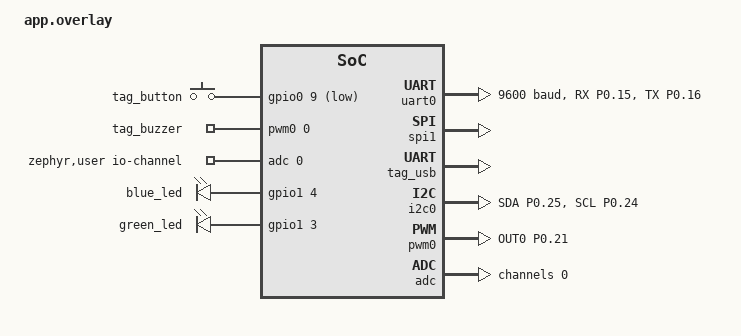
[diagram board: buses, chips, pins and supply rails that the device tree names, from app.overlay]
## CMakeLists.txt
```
cmake_minimum_required(VERSION 3.20)
set(PM_STATIC_YML_FILE ${CMAKE_CURRENT_SOURCE_DIR}/pm_static.yml)
find_package(Zephyr REQUIRED HINTS $ENV{ZEPHYR_BASE})
project(rak_findmy)
if(NOT BOARD STREQUAL "rak4631_nrf52840")
  message(FATAL_ERROR "This application is for the RAK WisMesh Tag with S140 6.1.1.")
endif()
target_sources(app PRIVATE src/main.c src/motion.cpp src/plan.c)
if(RAK_FINDMY_PRODUCT_PLAN)
  if(NOT IS_ABSOLUTE "${RAK_FINDMY_PRODUCT_PLAN}" OR NOT EXISTS "${RAK_FINDMY_PRODUCT_PLAN}")
    message(FATAL_ERROR "Supply an absolute path to the product plan C source.")
  endif()
  target_sources(app PRIVATE "${RAK_FINDMY_PRODUCT_PLAN}")
  target_compile_definitions(app PRIVATE RAK_FINDMY_HAS_PLAN=1)
else()
  # Development image. The accessory stack stays disabled until a product plan
  # is linked. The SDK references all three arrays even in this configuration.
  target_sources(app PRIVATE src/unprovisioned.c)
endif()

include(mesh.cmake)
include(nordic_sdk.cmake)
include(../rak_location/ping_monitor.cmake)
```

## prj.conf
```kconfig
CONFIG_FMNA=y
CONFIG_FMNA_NORDIC_PRODUCT_PLAN=n
CONFIG_FMNA_MANUFACTURER_NAME="MeshCore"
CONFIG_FMNA_MODEL_NAME="RAK WisMesh Tag"
CONFIG_FMNA_CAPABILITY_PLAY_SOUND_ENABLED=y
CONFIG_FMNA_CAPABILITY_DETECT_MOTION_ENABLED=y
CONFIG_FMNA_CAPABILITY_BLE_SN_LOOKUP_ENABLED=y
CONFIG_FMNA_BATTERY_TYPE_RECHARGEABLE=y
CONFIG_FMNA_PAIRING_MODE_AUTOSTART=n
CONFIG_FMNA_SERVICE_HIDDEN_MODE=y
CONFIG_BT_MAX_CONN=2
CONFIG_BT_ID_MAX=2
CONFIG_BT_MAX_PAIRED=2
CONFIG_BT_RX_STACK_SIZE=3072
CONFIG_LINKER_ORPHAN_SECTION_PLACE=y
CONFIG_SYSTEM_WORKQUEUE_STACK_SIZE=4096
CONFIG_MAIN_STACK_SIZE=4096
CONFIG_HEAP_MEM_POOL_SIZE=8192
CONFIG_GPIO=y
CONFIG_PWM=y
CONFIG_I2C=y
CONFIG_ADC=y
CONFIG_CPP=y
CONFIG_USB_DEVICE_STACK=y
CONFIG_USB_DEVICE_PRODUCT="RAK Find My bench"
CONFIG_SHELL=y
CONFIG_SHELL_BACKEND_SERIAL=y
CONFIG_SHELL_HISTORY=n
CONFIG_SHELL_CMDS=n
CONFIG_SHELL_CMDS_RESIZE=n
CONFIG_SHELL_TAB=n
CONFIG_SHELL_LOG_BACKEND=n
CONFIG_BT_SHELL=n
CONFIG_FLASH_SHELL=n
CONFIG_LOG=n
CONFIG_USE_SEGGER_RTT=n
CONFIG_BOOT_BANNER=n
CONFIG_NFCT_PINS_AS_GPIOS=y
CONFIG_GPIO_AS_PINRESET=n
CONFIG_BUILD_OUTPUT_HEX=y
CONFIG_UART_INTERRUPT_DRIVEN=y
CONFIG_RING_BUFFER=y
CONFIG_REBOOT=y
CONFIG_NEWLIB_LIBC=y
CONFIG_GLIBCXX_LIBCPP=y
CONFIG_SPI=y
CONFIG_STD_CPP17=y
```

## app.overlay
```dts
#include <zephyr/dt-bindings/adc/nrf-adc.h>
#include <zephyr/dt-bindings/adc/adc.h>
#include <zephyr/dt-bindings/pwm/pwm.h>

/ {
  chosen {
    zephyr,console = &tag_usb;
    zephyr,shell-uart = &tag_usb;
    zephyr,code-partition = &tag_app;
  };
  buttons {
    compatible = "gpio-keys";
    tag_button: button { gpios = <&gpio0 9 (GPIO_PULL_UP | GPIO_ACTIVE_LOW)>; };
  };
  buzzer {
    compatible = "pwm-leds";
    tag_buzzer: buzzer { pwms = <&pwm0 0 PWM_USEC(500) PWM_POLARITY_NORMAL>; };
  };
};

&flash0 {
  /delete-node/ partitions;
  partitions {
    compatible = "fixed-partitions";
    #address-cells = <1>;
    #size-cells = <1>;
    tag_app: partition@26000 { label = "image-0"; reg = <0x26000 0x9d000>; };
    storage_partition: partition@d2000 { label = "storage"; reg = <0xd2000 0x2000>; };
  };
};
&blue_led { gpios = <&gpio1 4 GPIO_ACTIVE_HIGH>; };
&green_led { gpios = <&gpio1 3 GPIO_ACTIVE_HIGH>; };
&uart0 { status = "disabled"; };
&uart1 { status = "disabled"; };
&spi1 { status = "disabled"; };
&qspi { status = "disabled"; };
&i2c1 { status = "disabled"; };

&zephyr_udc0 { tag_usb: cdc_acm_uart0 { compatible = "zephyr,cdc-acm-uart"; }; };

&pinctrl {
  tag_i2c: tag_i2c { group1 { psels = <NRF_PSEL(TWIM_SDA, 0, 25)>, <NRF_PSEL(TWIM_SCL, 0, 24)>; }; };
  tag_i2c_sleep: tag_i2c_sleep { group1 { psels = <NRF_PSEL(TWIM_SDA, 0, 25)>, <NRF_PSEL(TWIM_SCL, 0, 24)>; low-power-enable; }; };
  tag_pwm: tag_pwm { group1 { psels = <NRF_PSEL(PWM_OUT0, 0, 21)>; }; };
  tag_pwm_sleep: tag_pwm_sleep { group1 { psels = <NRF_PSEL(PWM_OUT0, 0, 21)>; low-power-enable; }; };
};
&i2c0 {
  status = "okay";
  pinctrl-0 = <&tag_i2c>;
  pinctrl-1 = <&tag_i2c_sleep>;
};
&pwm0 {
  status = "okay";
  pinctrl-0 = <&tag_pwm>;
  pinctrl-1 = <&tag_pwm_sleep>;
  pinctrl-names = "default", "sleep";
};

&adc {
  #address-cells = <1>;
  #size-cells = <0>;
  channel@0 {
    reg = <0>;
    zephyr,gain = "ADC_GAIN_1_6";
    zephyr,reference = "ADC_REF_INTERNAL";
    zephyr,acquisition-time = <ADC_ACQ_TIME_DEFAULT>;
    zephyr,input-positive = <NRF_SAADC_AIN3>;
    zephyr,resolution = <12>;
  };
};
/ { zephyr,user { io-channels = <&adc 0>; }; };

#include <zephyr/dt-bindings/lora/sx126x.h>
&spi1 { status = "okay"; };
&lora {
  /delete-property/ tx-enable-gpios;
  /delete-property/ rx-enable-gpios;
  dio3-tcxo-voltage = <SX126X_DIO3_TCXO_1V8>;
};
&pinctrl {
  tag_gps: tag_gps { group1 { psels = <NRF_PSEL(UART_RX, 0, 15)>, <NRF_PSEL(UART_TX, 0, 16)>; }; };
  tag_gps_sleep: tag_gps_sleep { group1 { psels = <NRF_PSEL(UART_RX, 0, 15)>, <NRF_PSEL(UART_TX, 0, 16)>; low-power-enable; }; };
};
&uart0 {
  status = "okay";
  current-speed = <9600>;
  pinctrl-0 = <&tag_gps>;
  pinctrl-1 = <&tag_gps_sleep>;
};
```

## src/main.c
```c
#include <errno.h>
#include <string.h>
#include <fmna.h>
#ifdef RAK_NATIVE_PINGS
#include "native_pings.h"
#define APPLE_BT_ID RAK_APPLE_ID
#else
#define APPLE_BT_ID 1
#endif
#include <zephyr/bluetooth/bluetooth.h>
#include <zephyr/drivers/adc.h>
#include <zephyr/drivers/gpio.h>
#include <zephyr/drivers/pwm.h>
#include <zephyr/kernel.h>
#include <zephyr/settings/settings.h>
#include <zephyr/shell/shell.h>
#ifdef CONFIG_USB_DEVICE_STACK
#include <zephyr/usb/usb_device.h>
#endif

extern bool tag_has_product_plan(void);
extern void tag_mesh_start(void);
extern bool tag_motion_present(void);
#ifdef RAK_NATIVE_PINGS
#define tag_motion_start rak_apple_motion_start
#define tag_motion_detected rak_apple_motion_detected
#define tag_motion_stop rak_apple_motion_stop
#define set_buzzer rak_apple_buzzer
#else
extern void tag_motion_start(void);
extern bool tag_motion_detected(void);
extern void tag_motion_stop(void);
#endif

static const struct gpio_dt_spec button = GPIO_DT_SPEC_GET(DT_NODELABEL(tag_button), gpios);
static const struct gpio_dt_spec green = GPIO_DT_SPEC_GET(DT_NODELABEL(green_led), gpios);
static const struct pwm_dt_spec buzzer = PWM_DT_SPEC_GET(DT_NODELABEL(tag_buzzer));
#ifndef RAK_NATIVE_PINGS
static int set_buzzer(bool active)
{
    return pwm_set_pulse_dt(&buzzer, active ? buzzer.period / 2 : 0);
}
#endif

static const struct adc_dt_spec battery = ADC_DT_SPEC_GET(DT_PATH(zephyr_user));

static atomic_t hardware_ready, paired, pairing, uuid_present, token_present;
static atomic_t last_error;
static K_MUTEX_DEFINE(buzzer_lock);
static bool notify_sound_end;
static int64_t sound_deadline;
static void finish_sound(struct k_work *work);
static K_WORK_DELAYABLE_DEFINE(sound_timer, finish_sound);

extern int tag_battery_mv(void);

static uint8_t battery_percent(int mv)
{
    return CLAMP((mv - 3200) / 10, 0, 100);
}

static void update_battery(void)
{
    int mv = tag_battery_mv();
    if (mv >= 0) fmna_battery_level_set(battery_percent(mv));
}

static void finish_sound(struct k_work *work)
{
    ARG_UNUSED(work);
    k_mutex_lock(&buzzer_lock, K_FOREVER);
    if (sound_deadline) {
        int64_t left = sound_deadline - k_uptime_get();
        if (left > 0) {
            k_work_reschedule(&sound_timer, K_MSEC(left));
        } else {
            set_buzzer(false);
            sound_deadline = 0;
            bool report = notify_sound_end;
            notify_sound_end = false;
            k_mutex_unlock(&buzzer_lock);
            if (report) fmna_sound_completed_indicate();
            return;
        }
    }
    k_mutex_unlock(&buzzer_lock);
}

static int play_sound(bool network)
{
    k_mutex_lock(&buzzer_lock, K_FOREVER);
    int err = 0;
    if (!network && notify_sound_end) err = -EBUSY;
    else if ((err = set_buzzer(true)) == 0) {
        notify_sound_end = network;
        int duration_ms = network ? 5000 : 500;
        sound_deadline = k_uptime_get() + duration_ms;
        k_work_reschedule(&sound_timer, K_MSEC(duration_ms));
    }
    k_mutex_unlock(&buzzer_lock);
    return err;
}

static void sound_start(enum fmna_sound_trigger trigger)
{
    ARG_UNUSED(trigger);
    int err = play_sound(true);
    if (err) {
        atomic_set(&last_error, err);
        fmna_sound_completed_indicate();
    }
}

static void sound_stop(void)
{
    k_mutex_lock(&buzzer_lock, K_FOREVER);
    sound_deadline = 0;
    notify_sound_end = false;
    k_work_cancel_delayable(&sound_timer);
    set_buzzer(false);
    k_mutex_unlock(&buzzer_lock);
}

static void state_changed(bool is_paired)
{
    atomic_set(&paired, is_paired);
    if (is_paired) atomic_clear(&pairing);
#ifdef RAK_NATIVE_PINGS
    rak_apple_indicator(is_paired);
#else
    gpio_pin_set_dt(&green, is_paired);
#endif
}

static void pairing_exited(void) { atomic_clear(&pairing); }
static void pairing_failed(void) { atomic_set(&last_error, -EACCES); }

static const struct fmna_enable_cb events = {
    .paired_state_changed = state_changed, .battery_level_request = update_battery,
    .pairing_failed = pairing_failed, .pairing_mode_exited = pairing_exited,
};
static const struct fmna_sound_cb sounds = { .sound_start = sound_start, .sound_stop = sound_stop };
static const struct fmna_motion_detection_cb motion = {
    .motion_detection_start = tag_motion_start,
    .motion_detection_period_expired = tag_motion_detected,
    .motion_detection_stop = tag_motion_stop,
};

// Inspect only the presence and expected size of the SDK's provisioning
// records. The SDK alone reads and authenticates their contents.
static int provisioned(const char *key, size_t len, settings_read_cb read,
                       void *arg, void *unused)
{
    ARG_UNUSED(read); ARG_UNUSED(arg); ARG_UNUSED(unused);
    if (key && strcmp(key, "998") == 0 && len == 16) atomic_set(&uuid_present, 1);
    if (key && strcmp(key, "999") == 0 && len == 1024) atomic_set(&token_present, 1);
    return 0;
}

static int start_accessory(int mv)
{
#ifdef RAK_NATIVE_PINGS
    int err = rak_host_ready();
#else
    int err = bt_enable(NULL);
    if (!err) err = settings_load();
#endif
    if (!err) err = settings_load_subtree_direct("fmna/provisioning", provisioned, NULL);
    if (err) return err;
    if (!tag_has_product_plan() || !atomic_get(&uuid_present)
        || !atomic_get(&token_present)) return -ENODATA;
    size_t count = 0;
    bt_id_get(NULL, &count);
    if (count <= APPLE_BT_ID) {
        int id = bt_id_create(NULL, NULL);
        if (id != APPLE_BT_ID) return id < 0 ? id : -EINVAL;
    }
    err = fmna_sound_cb_register(&sounds);
    if (!err) err = fmna_motion_detection_cb_register(&motion);
    const struct fmna_enable_param params = {
        .bt_id = APPLE_BT_ID, .init_battery_level = battery_percent(mv),
        .use_default_factory_settings = false
    };
    return err ? err : fmna_enable(&params, &events);
}

static int enter_pairing(void)
{
    if (!fmna_is_ready()) return atomic_get(&last_error) ?: -EAGAIN;
    if (atomic_get(&paired)) return -EALREADY;
    int err = fmna_resume();
    if (!err) atomic_set(&pairing, 1);
    return err;
}

static int cmd_status(const struct shell *sh, size_t argc, char **argv)
{
    ARG_UNUSED(argc); ARG_UNUSED(argv);
    shell_print(sh, "plan=%s uuid=%s token=%s ready=%d paired=%ld pairing=%ld error=%ld",
                tag_has_product_plan() ? "configured" : "absent",
                atomic_get(&uuid_present) ? "present" : "absent",
                atomic_get(&token_present) ? "present" : "absent", fmna_is_ready(),
                (long)atomic_get(&paired), (long)atomic_get(&pairing), (long)atomic_get(&last_error));
    if (atomic_get(&hardware_ready))
        shell_print(sh, "battery_mV=%d accelerometer=%s", tag_battery_mv(),
                    tag_motion_present() ? "present" : "unavailable");
    return 0;
}

static int cmd_sound(const struct shell *sh, size_t argc, char **argv)
{
    ARG_UNUSED(argc); ARG_UNUSED(argv);
    int err = atomic_get(&hardware_ready) ? play_sound(false) : -EAGAIN;
    if (err) shell_error(sh, "Buzzer unavailable (%d)", err);
    return err;
}

static int cmd_pair(const struct shell *sh, size_t argc, char **argv)
{
    ARG_UNUSED(argc); ARG_UNUSED(argv);
    int err = enter_pairing();
    if (err == -ENODATA) shell_error(sh, "Find My requires a product plan and device provisioning");
    else if (err) shell_error(sh, "Pairing unavailable (%d)", err);
    else shell_print(sh, "Open Find My > Items > Add Other Item");
    return err;
}

SHELL_STATIC_SUBCMD_SET_CREATE(tag_commands,
    SHELL_CMD(status, NULL, "Board and Find My state", cmd_status),
    SHELL_CMD(sound, NULL, "Test the local buzzer", cmd_sound),
    SHELL_CMD(pair, NULL, "Open the Find My pairing window", cmd_pair),
    SHELL_SUBCMD_SET_END);
SHELL_CMD_REGISTER(tag, &tag_commands, "RAK WisMesh Tag", NULL);

int main(void)
{
    // The tracker also boots on battery with no USB host.
#ifdef CONFIG_USB_DEVICE_STACK
    (void)usb_enable(NULL);
#endif
    int err = 0;
    if (!gpio_is_ready_dt(&green) || !gpio_is_ready_dt(&button)
        || !device_is_ready(buzzer.dev) || !device_is_ready(battery.dev)) err = -ENODEV;
#ifdef RAK_NATIVE_PINGS
    if (!err) err = rak_board_prepare();
#else
    if (!err) err = gpio_pin_configure_dt(&green, GPIO_OUTPUT_INACTIVE);
    if (!err) err = gpio_pin_configure_dt(&button, GPIO_INPUT);
#endif
    if (!err) err = adc_channel_setup_dt(&battery);
    int mv = err ? err : tag_battery_mv();
    if (mv < 0) { atomic_set(&last_error, mv); return mv; }
    atomic_set(&hardware_ready, 1);
    if (!tag_motion_present()) err = -ENODEV;
    if (!err) err = start_accessory(mv);
    atomic_set(&last_error, err);
#ifndef RAK_NATIVE_PINGS
    tag_mesh_start();
#else
    if (err) return err;
#endif
    // Only a deliberate press after boot opens the pairing window.
    bool released = false;
    unsigned down_ticks = 0;
    while (true) {
        k_sleep(K_MSEC(25));
        int down = gpio_pin_get_dt(&button);
        if (down == 0) { down_ticks = 0; released = true; }
        else if (down > 0 && released && ++down_ticks == 3) {
            released = false;
            if (fmna_is_ready()) {
                if (atomic_get(&paired)) fmna_serial_number_lookup_enable();
                else enter_pairing();
            } else play_sound(false);
        }
    }
}
```

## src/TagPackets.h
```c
#pragma once

#include <Packet.h>
#include <Utils.h>
#include <helpers/TrackerProtocol.h>

namespace tag_packets {

// The first bytes route the packet. Integrity is checked against the shared
// secret for the full locally configured peer before interpreting its payload.
inline int open(const uint8_t* bytes, uint8_t size, uint8_t type,
                const uint8_t* local, const uint8_t* peer, const uint8_t* secret,
                uint8_t (&clear)[MAX_PACKET_PAYLOAD]) {
  mesh::Packet packet;
  if (!packet.readFrom(bytes, size) || packet.getRouteType() != ROUTE_TYPE_DIRECT
      || packet.path_len || packet.getPayloadVer() != PAYLOAD_VER_1
      || packet.getPayloadType() != type || packet.payload_len < 4
      || packet.payload[0] != local[0] || packet.payload[1] != peer[0]) return 0;
  return mesh::Utils::MACThenDecrypt(secret, clear, packet.payload + 2, packet.payload_len - 2);
}

inline void seal(mesh::Packet& packet, uint8_t type, const uint8_t* local,
                 const uint8_t* peer, const uint8_t* secret, const uint8_t* clear, size_t length) {
  packet.header = ROUTE_TYPE_DIRECT | (type << PH_TYPE_SHIFT);
  packet.path_len = 0;
  packet.payload[0] = peer[0];
  packet.payload[1] = local[0];
  packet.payload_len = 2 + mesh::Utils::encryptThenMAC(secret, packet.payload + 2, clear, length);
}

inline bool unpackReply(const uint8_t* bytes, uint8_t size, const uint8_t* local,
                        const uint8_t* peer, const uint8_t* secret, uint32_t pending, uint8_t& status) {
  uint8_t clear[MAX_PACKET_PAYLOAD];
  int len = open(bytes, size, PAYLOAD_TYPE_RESPONSE, local, peer, secret, clear);
  uint16_t lease;
  return pending && len > 0 && mesh::tracker::parseStatusResponse(clear, len, pending, status, lease);
}

inline bool unpackCheck(const uint8_t* bytes, uint8_t size, const uint8_t* local,
                        const uint8_t* peer, const uint8_t* secret, uint32_t latest, uint32_t utc,
                        uint32_t& tag, mesh::tracker::StatusRequest& fix) {
  using namespace mesh::tracker;
  uint8_t clear[MAX_PACKET_PAYLOAD];
  int len = open(bytes, size, PAYLOAD_TYPE_REQ, local, peer, secret, clear);
  if (len <= int(TagLength) || !parseStatusRequest(clear + TagLength, len - TagLength, fix)) return false;
  tag = get32(clear);
  return utc && tag > latest && uint64_t(tag) <= uint64_t(utc) + 300 && uint64_t(tag) + 300 >= utc;
}
} // namespace tag_packets
```

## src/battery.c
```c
#include <zephyr/drivers/adc.h>

static const struct adc_dt_spec battery = ADC_DT_SPEC_GET(DT_PATH(zephyr_user));

int tag_battery_mv(void)
{
    int16_t raw;
    struct adc_sequence seq = { .buffer = &raw, .buffer_size = sizeof(raw) };
    int err = adc_sequence_init_dt(&battery, &seq);
    if (!err) err = adc_read(battery.dev, &seq);
    if (err) return err;
    int32_t mv = raw;
    err = adc_raw_to_millivolts_dt(&battery, &mv);
    // Same resistor-divider calibration as RAKWismeshTagBoard.
    return err ? err : (mv * 2054 + 500) / 1000;
}
```

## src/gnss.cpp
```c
#include "gnss.h"
#include <zephyr/drivers/gpio.h>
#include <zephyr/drivers/uart.h>
#include <zephyr/sys/ring_buffer.h>
#include <zephyr/sys/timeutil.h>
#include <MicroNMEA.h>

namespace {
const device* const gps = DEVICE_DT_GET(DT_NODELABEL(uart0));
const device* const power = DEVICE_DT_GET(DT_NODELABEL(gpio1));
RING_BUF_DECLARE(bytes, 1024);
char line[100];
MicroNMEA nmea(line, sizeof(line));
TagFix latest{};
bool running;

void receive(const device* dev, void*) {
  uint8_t chunk[32];
  if (!uart_irq_update(dev) || !uart_irq_rx_ready(dev)) return;
  int size;
  while ((size = uart_fifo_read(dev, chunk, sizeof(chunk))) > 0)
    ring_buf_put(&bytes, chunk, size);
}
}

bool tag_gps_available() {
  return device_is_ready(gps) && device_is_ready(power);
}

bool tag_gps_begin() {
  if (running) return true;
  latest = {};
  nmea.clear();
  ring_buf_reset(&bytes);
  if (!tag_gps_available()
      || gpio_pin_configure(power, 2, GPIO_OUTPUT_ACTIVE)
      || uart_irq_callback_user_data_set(gps, receive, nullptr)) return false;
  uart_irq_rx_enable(gps);
  running = true;
  return true;
}

void tag_gps_end() {
  if (!running) return;
  uart_irq_rx_disable(gps);
  gpio_pin_set(power, 2, 0);
  running = false;
  latest = {};
}

void tag_gps_process() {
  if (!running) return;
  uint8_t chunk[96];
  unsigned count;
  while ((count = ring_buf_get(&bytes, chunk, sizeof(chunk))) > 0) {
    for (unsigned i = 0; i < count; ++i) {
      if (!nmea.process(chunk[i]) || !MicroNMEA::testChecksum(nmea.getSentence())
          || strcmp(nmea.getMessageID(), "RMC")
          || !nmea.isValid()) continue;
      const long latitude = nmea.getLatitude(), longitude = nmea.getLongitude();
      if (latitude < -90000000 || latitude > 90000000
          || longitude < -180000000 || longitude > 180000000
          || nmea.getYear() < 2020 || nmea.getYear() > 2105
          || nmea.getMonth() < 1 || nmea.getMonth() > 12
          || nmea.getDay() < 1 || nmea.getDay() > 31 || nmea.getHour() > 23
          || nmea.getMinute() > 59 || nmea.getSecond() > 59) continue;
      struct tm date{};
      date.tm_year = nmea.getYear() - 1900;
      date.tm_mon = nmea.getMonth() - 1;
      date.tm_mday = nmea.getDay();
      date.tm_hour = nmea.getHour();
      date.tm_min = nmea.getMinute();
      date.tm_sec = nmea.getSecond();
      latest = {int32_t(latitude * 10), int32_t(longitude * 10),
                uint32_t(timeutil_timegm64(&date)), k_uptime_get()};
    }
  }
}

bool tag_gps_latest(TagFix& result) {
  result = latest;
  return running && result.utc && k_uptime_get() - result.received_ms <= 15000;
}
```

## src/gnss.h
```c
#pragma once
#include <stdint.h>

struct TagFix {
  int32_t lat, lon;
  uint32_t utc;
  int64_t received_ms;
};

bool tag_gps_available();
bool tag_gps_begin();
void tag_gps_end();
void tag_gps_process();
bool tag_gps_latest(TagFix& result);
```

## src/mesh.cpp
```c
// A direct MeshCore collar check on the same MCU as the Find My accessory.
// Radio and GPS operations run outside Bluetooth callbacks and the USB shell.
#include <zephyr/drivers/gpio.h>
#include "radio.h"
#include <zephyr/init.h>
#include <zephyr/kernel.h>
#if __has_include(<zephyr/random/random.h>)
#include <zephyr/random/random.h>
#else
#include <zephyr/random/rand32.h>
#endif
#include <zephyr/settings/settings.h>
#include <zephyr/shell/shell.h>
#include <Packet.h>
#include <Utils.h>
#include <helpers/AdvertDataLayout.h>
#include <helpers/TrackerProtocol.h>
#include <ed_25519.h>
#include <stdlib.h>
#include "gnss.h"
#include "TagPackets.h"
#ifdef RAK_NATIVE_PINGS
#include "fence.h"
#include "pet.h"
#endif

extern "C" int tag_battery_mv(void);

namespace {
constexpr int kReplyTimeoutMs = 20000;
using namespace mesh::tracker;
K_MUTEX_DEFINE(lock);
struct Config {
  uint32_t frequency, last_tag;
  uint8_t owner[32], sf, cr, enabled;
  uint16_t bw;
};
Config cfg{};
uint8_t pub[32], priv[64], secret[32];
int init_error = -EAGAIN, last_error;
bool have_id, gps_ready, gps_on, advertise, request;
int64_t gps_started;
int64_t due, reply_deadline;
uint32_t waiting;
uint8_t owner_status = Unknown;
#ifdef RAK_NATIVE_PINGS
bool hike_lost;
#endif
uint8_t effective_status() {
#ifdef RAK_NATIVE_PINGS
  if (hike_lost) return Lost;
#endif
  return owner_status;
}
#if RAK_TAG_COMPANION
constexpr uint8_t advert_type = ADV_TYPE_CHAT;
struct Watch {
  uint8_t peer[32], answer, enabled;
  uint32_t last_tag;
  StatusRequest last;
};
Watch watch{};
#ifdef RAK_NATIVE_PINGS
struct WatchAlert { uint8_t peer[32]; uint32_t utc; char text[80]; };
WatchAlert watch_alert{};
#endif
uint8_t watch_secret[32];
bool listening;
int64_t retry_listen_at;
#else
constexpr uint8_t advert_type = ADV_TYPE_SENSOR;
#endif

struct Record { void* bytes; size_t size; int result; };
int read_record(const char* suffix, size_t len, settings_read_cb read, void* arg, void* context) {
  if (suffix && *suffix) return 0;
  auto& record = *static_cast<Record*>(context);
  if (len != record.size) record.result = -EBADMSG;
  else if (read(arg, record.bytes, len) != (ssize_t)len) record.result = -EIO;
  else record.result = 0;
  return 0;
}
int load(const char* key, void* data, size_t len) {
  Record record{data, len, -ENOENT};
  int rc = settings_load_subtree_direct(key, read_record, &record);
  return rc ? rc : record.result;
}
int save(const Config& next) {
  int rc = settings_save_one("tagmesh/config1", &next, sizeof(next));
  if (!rc) cfg = next;
  return rc;
}
bool radio_valid(const Config& c) {
  return c.frequency >= 150000000 && c.frequency <= 960000000 && (c.bw == 625 || c.bw == 1250 || c.bw == 2500 || c.bw == 5000)
      && c.sf >= 7 && c.sf <= 12 && c.cr >= 5 && c.cr <= 8;
}
int identity() {
  uint8_t seed[32]{};
  int rc = load("tagmesh/seed", seed, sizeof(seed));
  if (rc == -ENOENT) {
    rc = sys_csrand_get(seed, sizeof(seed));
    if (!rc) rc = settings_save_one("tagmesh/seed", seed, sizeof(seed));
  }
  if (!rc) ed25519_create_keypair(pub, priv, seed);
  for (volatile uint8_t& value : seed) value = 0;
  return rc;
}
struct Frame { uint8_t len; uint8_t bytes[255]; };
void stop_rx() {
  tag_radio_idle();
#if RAK_TAG_COMPANION
  listening = false;
#endif
  reply_deadline = 0;
  waiting = 0;
}
int send(mesh::Packet& packet) {
  if (!radio_valid(cfg)) return -EINVAL;
  int rc = tag_radio_apply({cfg.frequency, cfg.bw, cfg.sf, cfg.cr});
  if (rc) return rc;
  uint8_t bytes[255];
  uint8_t len = packet.writeTo(bytes);
  return tag_radio_send(bytes, len);
}
int advert(uint32_t utc) {
  mesh::Packet packet;
  packet.header = ROUTE_TYPE_DIRECT | (PAYLOAD_TYPE_ADVERT << PH_TYPE_SHIFT);
  uint8_t text[] = {ADV_NAME_MASK | advert_type, 'R','A','K',' ','T','a','g'};
  uint8_t body[32 + 4 + sizeof(text)];
  memcpy(body, pub, 32);
  put32(body + 32, utc);
  memcpy(body + 36, text, sizeof(text));
  memcpy(packet.payload, body, 36);
  ed25519_sign(packet.payload + 36, body, sizeof(body), pub, priv);
  memcpy(packet.payload + 100, text, sizeof(text));
  packet.payload_len = 100 + sizeof(text);
  return send(packet);
}
int check(const TagFix& fix) {
  if (cfg.last_tag == UINT32_MAX) return -EOVERFLOW;
  Config next = cfg;
  next.last_tag = MAX(fix.utc, cfg.last_tag + 1);
  if (uint64_t(next.last_tag) > uint64_t(fix.utc) + 300) return -ERANGE;
  StatusRequest req{};
  req.flags = FreshGps;
  req.latitude = fix.lat;
  req.longitude = fix.lon;
  int mv = tag_battery_mv();
  if (mv < 0 || mv > UINT16_MAX) return -EIO;
  req.battery_mv = mv;
  uint8_t data[TagLength + RequestLength]{};
  put32(data, next.last_tag);
  if (!makeStatusRequest(req, data + TagLength, RequestLength)) return -EINVAL;
  int rc = save(next);
  if (rc) return rc;
  mesh::Packet packet;
  tag_packets::seal(packet, PAYLOAD_TYPE_REQ, pub, cfg.owner, secret, data, sizeof(data));
  rc = send(packet);
  if (!rc) rc = tag_radio_listen();
  if (!rc) {
    waiting = cfg.last_tag;
    reply_deadline = k_uptime_get() + kReplyTimeoutMs;
  }
  return rc;
}
bool response(const Frame& frame) {
  uint8_t state;
  if (!tag_packets::unpackReply(frame.bytes, frame.len, pub, cfg.owner, secret, waiting, state)) return false;
  if (state != Unknown) owner_status = state;
  return true;
}
#if RAK_TAG_COMPANION
int save_watch(const Watch& next) {
  int rc = settings_save_one("tagmesh/watch1", &next, sizeof(next));
  if (!rc) watch = next;
  return rc;
}
#ifdef RAK_NATIVE_PINGS
bool receive_alert(const Frame& frame) {
  uint8_t data[MAX_PACKET_PAYLOAD];
  int len = tag_packets::open(frame.bytes, frame.len, PAYLOAD_TYPE_TXT_MSG, pub, watch.peer, watch_secret, data);
  if (len <= 5 || (data[4] >> 2) != 0) return false;
  const auto* text = reinterpret_cast<const char*>(data + 5);
  size_t size = strnlen(text, len - 5);
  constexpr char exit_prefix[] = "Collar left the fence at ";
  constexpr char return_prefix[] = "Collar returned to the fence at ";
  if (size >= sizeof(watch_alert.text) ||
      !((size > sizeof(exit_prefix) - 1 && !memcmp(text, exit_prefix, sizeof(exit_prefix) - 1)) ||
        (size > sizeof(return_prefix) - 1 && !memcmp(text, return_prefix, sizeof(return_prefix) - 1)))) return false;
  uint32_t utc = get32(data);
  if (!utc) return false;
  if (memcmp(watch_alert.peer, watch.peer, 32) || utc > watch_alert.utc) {
    WatchAlert next{};
    memcpy(next.peer, watch.peer, 32);
    next.utc = utc;
    memcpy(next.text, text, size);
    last_error = settings_save_one("tagmesh/watchalert1", &next, sizeof(next));
    if (last_error) return true;  // The sender can retry an undelivered alert.
    watch_alert = next;
  }
  mesh::Packet ack;
  ack.header = ROUTE_TYPE_DIRECT | (PAYLOAD_TYPE_ACK << PH_TYPE_SHIFT);
  ack.payload_len = 4;
  mesh::Utils::sha256(ack.payload, ack.payload_len, data, 5 + size, watch.peer, 32);
  stop_rx();
  last_error = send(ack);
  return true;
}
#endif
void answer(const Frame& frame) {
#ifdef RAK_NATIVE_PINGS
  if (receive_alert(frame)) return;
#endif
  TagFix own{};
  if (!tag_gps_latest(own)) return;
  uint32_t tag;
  Watch next = watch;
  if (!tag_packets::unpackCheck(frame.bytes, frame.len, pub, watch.peer, watch_secret,
                                watch.last_tag, own.utc, tag, next.last)) return;
  next.last_tag = tag;
  last_error = save_watch(next);
  if (last_error) return;
  uint8_t clear[ResponseLength];
  makeStatusResponse(tag, watch.answer, 0, clear, sizeof(clear));
  mesh::Packet reply;
  tag_packets::seal(reply, PAYLOAD_TYPE_RESPONSE, pub, watch.peer, watch_secret, clear, sizeof(clear));
  stop_rx();
  last_error = send(reply);
}
#endif
void service() {
  Frame frame;
  if (reply_deadline && k_uptime_get() >= reply_deadline) {
    stop_rx();
    last_error = -ETIMEDOUT;
  }
  bool receiving = reply_deadline != 0;
#if RAK_TAG_COMPANION
  if (watch.enabled && !receiving && !listening && k_uptime_get() >= retry_listen_at) {
    int rc = tag_radio_apply({cfg.frequency, cfg.bw, cfg.sf, cfg.cr});
    if (!rc) rc = tag_radio_listen();
    listening = !rc;
    if (rc) { last_error = rc; retry_listen_at = k_uptime_get() + 5000; }
  }
  receiving = receiving || listening;
#endif
  if (receiving) {
    int size = tag_radio_read(frame.bytes, sizeof(frame.bytes));
    if (size > 0) frame.len = size;
    if (size > 0 && waiting && response(frame)) {
      stop_rx();
      last_error = 0;
      due = k_uptime_get() + (effective_status() == Lost ? 60000 : 900000);
    }
#ifdef RAK_NATIVE_PINGS
    else if (size > 0 && reply_deadline && !waiting && collar_fence::acknowledge(frame.bytes, frame.len)) {
      stop_rx();
      last_error = 0;
    }
#endif
#if RAK_TAG_COMPANION
    else if (size > 0 && !reply_deadline && watch.enabled) answer(frame);
#endif
  }
  if (reply_deadline) return;
#ifdef RAK_NATIVE_PINGS
  if (collar_fence::alert_due(k_uptime_get())) {
    stop_rx();
    mesh::Packet packet;
    collar_fence::make_alert(packet, pub, secret, k_uptime_get());
    last_error = send(packet);
    if (!last_error) last_error = tag_radio_listen();
    if (!last_error) reply_deadline = k_uptime_get() + kReplyTimeoutMs;
    return;
  }
#endif
  if (!advertise && !request && (!cfg.enabled || k_uptime_get() < due)) return;
  TagFix fix{};
  if (!tag_gps_latest(fix)) return;
  stop_rx();
  if (advertise) {
    advertise = false;
    last_error = advert(fix.utc);
  } else {
    request = false;
    due = k_uptime_get() + (effective_status() == Lost ? 60000 : 900000);
    last_error = check(fix);
  }
}
bool number(const char* s, unsigned long& value) {
  if (!s || *s < '0' || *s > '9') return false;
  char* end;
  value = strtoul(s, &end, 10);
  return *end == 0;
}
int command(const shell* sh, size_t argc, char** argv) {
  k_mutex_lock(&lock, K_FOREVER);
  int rc = init_error;
  Config next = cfg;
  const char* op = argc > 1 ? argv[1] : "status";
  if (!strcmp(op, "status") && argc <= 2) {
    char key[65];
    mesh::Utils::toHex(key, pub, sizeof(pub));
    TagFix fix{};
#if RAK_TAG_COMPANION
    shell_print(sh, "role=tracker-companion");
#else
    shell_print(sh, "role=tracker-sensor");
#endif
#ifdef RAK_NATIVE_PINGS
    shell_print(sh, "pet_api=1");
    if (radio_valid(cfg))
      shell_print(sh, "radio_params=%lu %u.%u %u %u", (unsigned long)cfg.frequency,
                  cfg.bw / 10, cfg.bw % 10, cfg.sf, cfg.cr);
    if (!mesh::Utils::isZeroes(cfg.owner, sizeof(cfg.owner))) {
      char owner_key[65];
      mesh::Utils::toHex(owner_key, cfg.owner, sizeof(cfg.owner));
      shell_print(sh, "owner_radio=%s", owner_key);
    }
#endif
    shell_print(sh, "id=%s radio=%s frequency_Hz=%lu GPS=%s fix=%d mode=%s status=%u pending=%lu error=%d",
                have_id ? key : "unavailable", tag_radio_available() ? "ready" : "unavailable",
                (unsigned long)cfg.frequency, gps_on ? "on" : gps_ready ? "idle" : "unavailable",
                tag_gps_latest(fix), cfg.enabled ? "pet" : "off", effective_status(),
                (unsigned long)waiting, rc ? rc : last_error);
  } else if (!rc) {
#if RAK_TAG_COMPANION
    if (!strcmp(op, "watch") && argc == 3) {
      Watch candidate{};
      uint8_t derived[32]{};
      if (!strcmp(argv[2], "off")) {
        rc = save_watch(candidate);
      } else if (!radio_valid(cfg) || !mesh::Utils::fromHex(candidate.peer, 32, argv[2])
                 || !memcmp(pub, candidate.peer, 32)) rc = -EINVAL;
      else {
        ed25519_key_exchange(derived, candidate.peer, priv);
        if (mesh::Utils::isZeroes(derived, 32)) rc = -EINVAL;
        else {
          if (!memcmp(candidate.peer, watch.peer, 32)) candidate = watch;
          candidate.enabled = 1;
          rc = save_watch(candidate);
        }
      }
      if (!rc) { memcpy(watch_secret, derived, 32); stop_rx(); }
    } else if (!strcmp(op, "lost") && argc == 3) {
      Watch candidate = watch;
      if (!strcmp(argv[2], "yes")) candidate.answer = Lost;
      else if (!strcmp(argv[2], "no")) candidate.answer = Safe;
      else if (!strcmp(argv[2], "off")) candidate.answer = Unknown;
      else rc = -EINVAL;
      if (!rc && !watch.enabled) rc = -ENOENT;
      if (!rc) rc = save_watch(candidate);
    } else if (!strcmp(op, "last") && argc == 2) {
      shell_print(sh, "watch=%u tag=%lu gps_flags=%u latitude_e7=%ld longitude_e7=%ld battery_mV=%u",
                  watch.enabled, (unsigned long)watch.last_tag, watch.last.flags,
                  (long)watch.last.latitude, (long)watch.last.longitude, watch.last.battery_mv);
#ifdef RAK_NATIVE_PINGS
      if (watch.enabled && watch_alert.utc && !memcmp(watch_alert.peer, watch.peer, 32))
        shell_print(sh, "alert_utc=%lu %s", (unsigned long)watch_alert.utc, watch_alert.text);
#endif
    } else
#endif
#ifdef RAK_NATIVE_PINGS
    if (!strcmp(op, "tune")) rc = pet_tune_command(sh, argc, argv);
    else if (!strcmp(op, "hike") || !strcmp(op, "phone") || !strcmp(op, "phones"))
      rc = pet_hike_command(sh, argc, argv);
    else if (!strcmp(op, "fence") || !strcmp(op, "motion")) {
      rc = collar_fence::command(sh, argc, argv, cfg.owner, radio_valid(cfg) && !mesh::Utils::isZeroes(secret, 32));
    } else
#endif
    if (!strcmp(op, "radio") && argc == 6) {
      unsigned long hz, sf, cr;
      uint16_t bw = !strcmp(argv[3], "62.5") ? 625 : !strcmp(argv[3], "125") ? 1250
          : !strcmp(argv[3], "250") ? 2500 : !strcmp(argv[3], "500") ? 5000 : 0;
      if (reply_deadline || cfg.enabled
#if RAK_TAG_COMPANION
          || watch.enabled
#endif
      ) rc = -EBUSY;
      else if (!number(argv[2], hz) || !bw || !number(argv[4], sf)
          || !number(argv[5], cr) || hz < 150000000 || hz > 960000000
          || sf < 7 || sf > 12 || cr < 5 || cr > 8) rc = -EINVAL;
      else {
        next.frequency = hz;
        next.bw = bw;
        next.sf = sf;
        next.cr = cr;
        rc = save(next);
      }
    } else if (!strcmp(op, "owner") && argc == 3) {
      uint8_t new_secret[32]{};
      if (cfg.enabled || reply_deadline) rc = -EBUSY;
      else if (!mesh::Utils::fromHex(next.owner, sizeof(next.owner), argv[2])
               || !memcmp(pub, next.owner, sizeof(pub))) rc = -EINVAL;
      else {
        ed25519_key_exchange(new_secret, next.owner, priv);
        if (mesh::Utils::isZeroes(new_secret, sizeof(new_secret))) rc = -EINVAL;
        else if (!(rc = save(next))) {
          memcpy(secret, new_secret, sizeof(secret));
          owner_status = Unknown;
        }
      }
    } else if (!strcmp(op, "off") && argc == 2) {
      next.enabled = false;
      rc = save(next);
      if (!rc) { stop_rx(); request = advertise = false; }
    } else if ((!strcmp(op, "on") || !strcmp(op, "check") || !strcmp(op, "advert")) && argc == 2) {
      if (!gps_ready || !tag_radio_available() || !radio_valid(cfg)) rc = -ENODEV;
      else if (!strcmp(op, "advert")) advertise = true;
      else if (mesh::Utils::isZeroes(secret, sizeof(secret))) rc = -ENOENT;
      else if (!strcmp(op, "check")) request = true;
      else {
        next.enabled = true;
        rc = save(next);
        if (!rc) due = 0;
      }
    } else rc = -EINVAL;
    if (!rc) shell_print(sh, "OK");
  }
  if (rc) shell_error(sh, "Mesh unavailable (%d)", rc);
  k_mutex_unlock(&lock);
  return rc;
}
#ifdef RAK_NATIVE_PINGS
#define FENCE_HELP " | hike | phones | phone 1/2 enroll/forget | tune | motion [on | off] | fence [off | lat lon radius_m | lat lon lat lon ...]"
#else
#define FENCE_HELP ""
#endif
#if RAK_TAG_COMPANION
SHELL_CMD_REGISTER(pet, NULL, "status | radio Hz BW_kHz SF CR | owner key | on | off | advert | check | watch key/off | lost yes/no/off | last" FENCE_HELP, command);
#else
SHELL_CMD_REGISTER(pet, NULL, "status | radio Hz BW_kHz SF CR | owner key | on | off | advert | check" FENCE_HELP, command);
#endif

void worker(void*, void*, void*) {
  k_mutex_lock(&lock, K_FOREVER);
  int rc = settings_subsys_init();
  if (!rc) rc = identity();
  have_id = !rc;
  if (!rc) {
    rc = load("tagmesh/config1", &cfg, sizeof(cfg));
    if (rc == -ENOENT) rc = 0;
    if (!rc && cfg.frequency && !radio_valid(cfg)) rc = -EBADMSG;
    if (!rc && !mesh::Utils::isZeroes(cfg.owner, sizeof(cfg.owner)))
      ed25519_key_exchange(secret, cfg.owner, priv);
    if (!rc && cfg.enabled && (!radio_valid(cfg) || mesh::Utils::isZeroes(secret, sizeof(secret)))) rc = -EBADMSG;
  }
#if RAK_TAG_COMPANION
  if (!rc) {
    rc = load("tagmesh/watch1", &watch, sizeof(watch));
    if (rc == -ENOENT) rc = 0;
    if (!rc && watch.enabled) {
      ed25519_key_exchange(watch_secret, watch.peer, priv);
      if (!radio_valid(cfg) || watch.answer > Lost || mesh::Utils::isZeroes(watch_secret, 32)) rc = -EBADMSG;
    }
  }
#endif
#ifdef RAK_NATIVE_PINGS
  if (!rc) {
    rc = pet_tune_init(load);
    if (!rc) rc = pet_hike_init(load);
    collar_fence::after_load(load(collar_fence::settings_key, &collar_fence::record, sizeof(collar_fence::record)));
#if RAK_TAG_COMPANION
    if (load("tagmesh/watchalert1", &watch_alert, sizeof(watch_alert)) ||
        !memchr(watch_alert.text, 0, sizeof(watch_alert.text))) watch_alert = {};
#endif
  }
#endif
  gps_ready = tag_gps_available();
  init_error = rc;
  k_mutex_unlock(&lock);
  while (true) {
    k_mutex_lock(&lock, K_FOREVER);
#ifdef RAK_NATIVE_PINGS
    bool previously_lost = hike_lost;
    hike_lost = !init_error && pet_hike_tick(k_uptime_get());
    if (hike_lost && !previously_lost && cfg.enabled) due = 0;
#endif
    bool check_needs_gps = !init_error && (advertise || request
        || (cfg.enabled && k_uptime_get() >= due));
    bool need_gps = check_needs_gps;
#ifdef RAK_NATIVE_PINGS
    if (!init_error && collar_fence::needs_gps(cfg.enabled, cfg.owner, k_uptime_get())) need_gps = true;
#endif
#if RAK_TAG_COMPANION
    need_gps = need_gps || (!init_error && watch.enabled);
#endif
    if (need_gps && !gps_on) {
      gps_on = tag_gps_begin();
      gps_started = k_uptime_get();
    } else if (!need_gps && gps_on) {
      tag_gps_end();
      gps_on = false;
    }
    if (gps_on) tag_gps_process();
    TagFix fix{};
#ifdef RAK_NATIVE_PINGS
    if (gps_on && tag_gps_latest(fix)) collar_fence::observe(fix, k_uptime_get());
    pet_tune_tick(cfg.enabled && collar_fence::outside(), k_uptime_get());
#endif
    if (!init_error) service();
    if (check_needs_gps && gps_on && k_uptime_get() - gps_started > 120000 && !tag_gps_latest(fix)
#if RAK_TAG_COMPANION
        && !watch.enabled
#endif
    ) {
      last_error = -ETIMEDOUT;
      advertise = request = false;
      due = k_uptime_get() + (effective_status() == Lost ? 60000 : 900000);
    }
    k_mutex_unlock(&lock);
    k_sleep(K_MSEC(25));
  }
}
K_THREAD_STACK_DEFINE(worker_stack, 12288);
struct k_thread worker_thread;
}

extern "C" void tag_mesh_start() {
  k_thread_create(&worker_thread, worker_stack, K_THREAD_STACK_SIZEOF(worker_stack),
                  worker, nullptr, nullptr, nullptr, 7, 0, K_NO_WAIT);
}
```

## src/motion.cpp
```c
#include <zephyr/drivers/i2c.h>
#include <zephyr/kernel.h>
#include <helpers/tracker/Lis2dhMotionLatch.h>

namespace {
const device* const bus = DEVICE_DT_GET(DT_NODELABEL(i2c0));

struct TagI2c {
  bool read(uint8_t address, uint8_t reg, uint8_t& value) {
    return i2c_reg_read_byte(bus, address, reg, &value) == 0;
  }
  bool write(uint8_t address, uint8_t reg, uint8_t value) {
    return i2c_reg_write_byte(bus, address, reg, value) == 0;
  }
};

TagI2c i2c;
mesh::tracker::motion::Lis2dhMotionLatch<TagI2c> latch;
}

extern "C" bool tag_motion_present(void) {
  uint8_t id;
  if (!device_is_ready(bus)) return false;
  return (i2c.read(0x19, 0x0f, id) && id == 0x33)
      || (i2c.read(0x18, 0x0f, id) && id == 0x33);
}

extern "C" void tag_motion_start(void) {
  if (device_is_ready(bus)) latch.begin(i2c, k_uptime_get_32(), 4);
}

// Negative means the reading is unavailable or the sensor is warming up.
extern "C" int tag_motion_sample(void) {
  using mesh::tracker::motion::Observation;
  auto result = latch.poll(i2c, k_uptime_get_32());
  if (result == Observation::Unknown) tag_motion_start();
  if (result == Observation::Unknown) return -1;
  return result == Observation::Motion ? 1 : 0;
}

extern "C" bool tag_motion_detected(void) {
  // An unreadable sensor must not suppress a separated-accessory alert.
  return tag_motion_sample() != 0;
}

extern "C" void tag_motion_stop(void) {
  latch.stop(i2c);
}
```

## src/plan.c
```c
#include <stdbool.h>
#include <stdint.h>

#ifdef RAK_FINDMY_HAS_PLAN
extern const uint8_t fmna_pp_product_data[8];
extern const uint8_t fmna_pp_server_encryption_key[65];
extern const uint8_t fmna_pp_server_sig_verification_key[65];
#endif

bool tag_has_product_plan(void)
{
#ifdef RAK_FINDMY_HAS_PLAN
    uint8_t data = 0;
    for (unsigned i = 0; i < sizeof(fmna_pp_product_data); ++i)
        data |= fmna_pp_product_data[i];
    return data != 0 && fmna_pp_server_encryption_key[0] == 4
        && fmna_pp_server_sig_verification_key[0] == 4;
#else
    return false;
#endif
}
```

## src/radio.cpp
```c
#include "radio.h"
#include <zephyr/drivers/gpio.h>
#include <zephyr/drivers/spi.h>
#include <zephyr/kernel.h>
#include <modules/SX126x/SX1262.h>

namespace {
constexpr uint8_t cs = 42, reset = 38, busy = 46, irq = 47, power = 37;
const device* const bus = DEVICE_DT_GET(DT_NODELABEL(spi1));
const device* const gpios[] = {DEVICE_DT_GET(DT_NODELABEL(gpio0)), DEVICE_DT_GET(DT_NODELABEL(gpio1))};

class TagHal : public RadioLibHal {
  spi_config config{};
public:
  int error = 0;
  TagHal() : RadioLibHal(GPIO_INPUT, GPIO_OUTPUT, 0, 1, GPIO_INT_EDGE_RISING, GPIO_INT_EDGE_FALLING) {
    config.frequency = 1000000;
    config.operation = SPI_OP_MODE_MASTER | SPI_WORD_SET(8) | SPI_TRANSFER_MSB;
  }
  void pinMode(uint32_t pin, uint32_t mode) override {
    if (pin < 48) record(gpio_pin_configure(gpios[pin / 32], pin % 32, mode));
  }
  void digitalWrite(uint32_t pin, uint32_t value) override {
    if (pin < 48) record(gpio_pin_set_raw(gpios[pin / 32], pin % 32, value));
  }
  uint32_t digitalRead(uint32_t pin) override {
    if (pin >= 48) return 0;
    int rc = gpio_pin_get_raw(gpios[pin / 32], pin % 32);
    record(rc);
    return rc > 0;
  }
  // The collar polls the latched DIO1 pin from its own worker. RadioLib's
  // blocking transmit also polls that pin. Neither operation registers an ISR.
  void attachInterrupt(uint32_t, void (*)(void), uint32_t) override { record(-ENOTSUP); }
  void detachInterrupt(uint32_t) override {}
  long pulseIn(uint32_t, uint32_t, RadioLibTime_t) override { record(-ENOTSUP); return 0; }
  void delay(RadioLibTime_t ms) override { k_sleep(K_MSEC(ms)); }
  void delayMicroseconds(RadioLibTime_t us) override { k_busy_wait(us); }
  RadioLibTime_t millis() override { return k_uptime_get_32(); }
  RadioLibTime_t micros() override { return k_ticks_to_us_floor64(k_uptime_ticks()); }
  void yield() override { k_yield(); }
  void spiBegin() override {}
  void spiBeginTransaction() override {}
  void spiEndTransaction() override {}
  void spiEnd() override {}
  void spiTransfer(uint8_t* out, size_t size, uint8_t* in) override {
    spi_buf tx{out, size}, rx{in, size};
    spi_buf_set send{&tx, 1}, recv{&rx, 1};
    record(spi_transceive(bus, &config, &send, &recv));
  }
private:
  void record(int rc) { if (rc < 0 && !error) error = rc; }
};

TagHal hal;
Module module(&hal, cs, irq, reset, busy);
SX1262 radio(&module);
TagRadioProfile active{};
bool initialized;
}
bool tag_radio_available() {
  return device_is_ready(bus) && device_is_ready(gpios[0]) && device_is_ready(gpios[1]);
}
int tag_radio_apply(const TagRadioProfile& p) {
  if (!tag_radio_available()) return -ENODEV;
  if (initialized && active.hz == p.hz && active.bw_tenths == p.bw_tenths
      && active.sf == p.sf && active.cr == p.cr && !hal.error) return 0;
  initialized = false;
  hal.error = 0;
  int rc = gpio_pin_configure(gpios[1], power % 32, GPIO_OUTPUT_ACTIVE);
  if (rc) return rc;
  k_sleep(K_MSEC(10));
  ConfigLoRa_t cfg{};
  cfg.frequency = p.hz / 1000000.0f;
  cfg.bandwidth = p.bw_tenths / 10.0f;
  cfg.spreadingFactor = p.sf;
  cfg.codingRate = p.cr;
  cfg.syncWord = RADIOLIB_SX126X_SYNC_WORD_PRIVATE;
  cfg.power = 14;
  cfg.preambleLength = 16;
  radio.tcxoVoltage = 1.8f;
  rc = radio.begin(cfg);
  if (!rc) rc = radio.setDio2AsRfSwitch(true);
  if (!rc) rc = radio.setCRC(2);
  if (rc || hal.error) return rc ? rc : hal.error;
  active = p;
  initialized = true;
  return 0;
}
int tag_radio_send(const uint8_t* data, size_t size) {
  if (!initialized) return -ENODEV;
  int rc = radio.standby();
  if (!rc) rc = radio.scanChannel();
  if (rc == RADIOLIB_LORA_DETECTED) return -EBUSY;
  if (rc != RADIOLIB_CHANNEL_FREE) return rc ? rc : -EIO;
  rc = radio.transmit(data, size);
  return rc ? rc : hal.error;
}
int tag_radio_listen() {
  if (!initialized) return -ENODEV;
  int rc = radio.startReceive();
  return rc ? rc : hal.error;
}
int tag_radio_read(uint8_t* data, size_t capacity) {
  if (!initialized || !hal.digitalRead(irq)) return 0;
  size_t n = radio.getPacketLength();
  int rc = n && n <= capacity ? radio.readData(data, n) : -EMSGSIZE;
  int resume = tag_radio_listen();
  if (resume) return resume;
  if (rc) return rc;
  return hal.error ? hal.error : int(n);
}
void tag_radio_idle() {
  if (initialized) radio.standby();
}
```

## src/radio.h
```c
#pragma once
#include <stdint.h>
#include <stddef.h>

struct TagRadioProfile {
  uint32_t hz;
  uint16_t bw_tenths;
  uint8_t sf, cr;
};
bool tag_radio_available();
int tag_radio_apply(const TagRadioProfile& profile);
int tag_radio_send(const uint8_t* data, size_t size);
int tag_radio_listen();
int tag_radio_read(uint8_t* data, size_t capacity);
void tag_radio_idle();
```

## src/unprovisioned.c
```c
#include <stdint.h>

// Link-only placeholders for a bench image that never starts the Find My stack.
const uint8_t fmna_pp_product_data[8] = {0};
const uint8_t fmna_pp_server_encryption_key[65] = {0};
const uint8_t fmna_pp_server_sig_verification_key[65] = {0};
```
